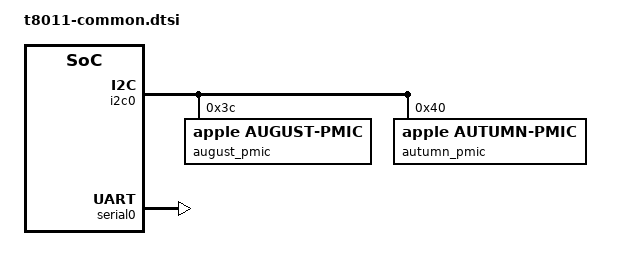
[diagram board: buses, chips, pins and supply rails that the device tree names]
// SPDX-License-Identifier: GPL-2.0+ OR MIT
/*
 * Apple TV 4K, Apple iPad Pro 2
 *
 * This file contains parts common to all Apple A10X devices.
 *
 * Copyright (c) 2024, Nick Chan <towinchenmi@gmail.com>
 */

/ {
	aliases {
		ausbphy0 = &ausbphy0; /* Used by loader */
		serial0 = &serial0;
	};

	chosen {
		#address-cells = <2>;
		#size-cells = <2>;
		ranges;

		stdout-path = "serial0";

		framebuffer0: framebuffer@0 {
			compatible = "apple,simple-framebuffer", "simple-framebuffer";
			reg = <0 0 0 0>; /* To be filled by loader */
			power-domains = <&ps_disp0_fe &ps_disp0_be &ps_dp>;
			/* Format properties will be added by loader */
			status = "disabled";
		};
	};

	memory@800000000 {
		device_type = "memory";
		reg = <0x8 0 0 0>; /* To be filled by loader */
	};

	reserved-memory {
		#address-cells = <2>;
		#size-cells = <2>;
		ranges;

		/* To be filled by loader */
	};
};

&i2c0 {
	status = "okay";

	august_pmic: pmic@3c {
		compatible = "apple,august-pmic", "apple,i2c-pmic";
		reg = <0x3c>;
		#address-cells = <1>;
		#size-cells = <1>;

		rtc@500 {
			compatible = "apple,august-pmic-rtc", "apple,antigua-pmic-rtc";
			reg = <0x500 0x10>;
			nvmem-cells = <&rtc_offset>;
			nvmem-cell-names = "rtc_offset";
		};

		nvmem@5000 {
			compatible = "apple,pmic-nvmem";
			reg = <0x5000 0x28>;

			nvmem-layout {
				compatible = "fixed-layout";
				#address-cells = <1>;
				#size-cells = <1>;

				rtc_offset: rtc-offset@4 {
					reg = <0x4 0x4>;
				};
			};
		};
	};

	autumn_pmic: pmic@40 {
		compatible = "apple,autumn-pmic", "apple,i2c-pmic";
		reg = <0x40>;
		#address-cells = <1>;
		#size-cells = <1>;
	};
};

&serial0 {
	status = "okay";
};
